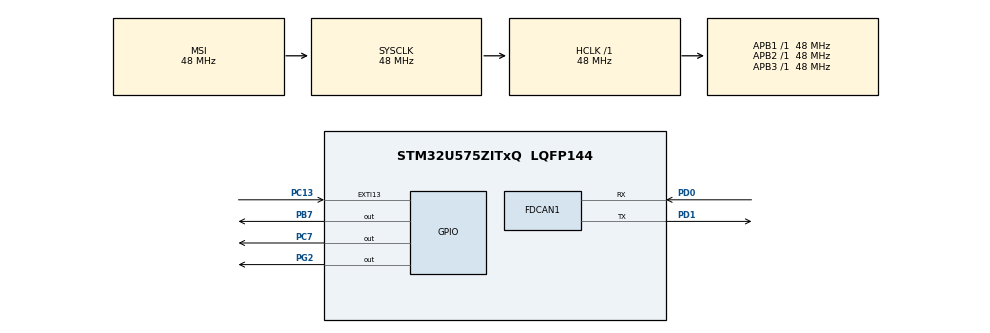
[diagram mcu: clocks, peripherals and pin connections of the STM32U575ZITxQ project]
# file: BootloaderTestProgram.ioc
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CORTEX_M33_NS.userName=CORTEX_M33
FDCAN1.AutoRetransmission=ENABLE
FDCAN1.CalculateBaudRateNominal=500000
FDCAN1.CalculateTimeBitNominal=2000
FDCAN1.CalculateTimeQuantumNominal=100.0
FDCAN1.DataPrescaler=2
FDCAN1.DataSyncJumpWidth=11
FDCAN1.DataTimeSeg1=13
FDCAN1.DataTimeSeg2=11
FDCAN1.ExtFiltersNbr=1
FDCAN1.FrameFormat=FDCAN_FRAME_FD_BRS
FDCAN1.NominalPrescaler=5
FDCAN1.NominalSyncJumpWidth=3
FDCAN1.NominalTimeSeg1=16
FDCAN1.NominalTimeSeg2=3
FDCAN1.StdFiltersNbr=1
Mcu.Family=STM32U5
Mcu.Name=STM32U575ZITxQ
Mcu.Package=LQFP144
NUCLEO-U575ZI-Q.BUTTON=1
NUCLEO-U575ZI-Q.Bsp_Common_DEMO=true
NUCLEO-U575ZI-Q.LD1=true
NUCLEO-U575ZI-Q.LD2=true
NUCLEO-U575ZI-Q.LD3=true
NUCLEO-U575ZI-Q.VCP=true
NVIC.EXTI13_IRQn=true\:0\:0\:false\:false\:true\:false\:true\:true
NVIC.FDCAN1_IT0_IRQn=true\:0\:0\:false\:false\:true\:true\:true\:true
NVIC.PriorityGroup=NVIC_PRIORITYGROUP_3
NVIC.TIM17_IRQn=true\:7\:0\:false\:false\:true\:false\:true\:true
NVIC.TimeBase=TIM17_IRQn
NVIC.TimeBaseIP=TIM17
PA10.Signal=USART1_RX
PA13\ (JTMS/SWDIO).Signal=DEBUG_JTMS-SWDIO
PA14\ (JTCK/SWCLK).Signal=DEBUG_JTCK-SWCLK
PA9.Signal=USART1_TX
PB3\ (JTDO/TRACESWO).Signal=DEBUG_JTDO-SWO
PB7.Signal=GPIO_Output
PC13.Signal=GPXTI13
PC14-OSC32_IN\ (PC14).Signal=RCC_OSC32_IN
PC15-OSC32_OUT\ (PC15).Signal=RCC_OSC32_OUT
PC7.Signal=GPIO_Output
PD0.Mode=FDCAN_Activate
PD0.Signal=FDCAN1_RX
PD1.Mode=FDCAN_Activate
PD1.Signal=FDCAN1_TX
PG2.Signal=GPIO_Output
PWR.PowerMode=PWR_SMPS_SUPPLY
ProjectManager.HeapSize=0x200
ProjectManager.StackSize=0x400
ProjectManager.TargetToolchain=STM32CubeIDE
RCC.ADCFreq_Value=16000000
RCC.AHBFreq_Value=48000000
RCC.APB1Freq_Value=48000000
RCC.APB1TimFreq_Value=48000000
RCC.APB2Freq_Value=48000000
RCC.APB2TimFreq_Value=48000000
RCC.APB3Freq_Value=48000000
RCC.CortexFreq_Value=48000000
RCC.DACCLockSelectionVirtual=RCC_DAC1CLKSOURCE_LSI
RCC.EPOD_VALUE=48000000
RCC.HCLKFreq_Value=48000000
RCC.HSE_VALUE=16000000
RCC.HSI48_VALUE=48000000
RCC.HSI_VALUE=16000000
RCC.LSE_VALUE=32768
RCC.LSIDIV_VALUE=32000
RCC.MSIClockRange=RCC_MSIRANGE_0
RCC.MSI_VALUE=48000000
RCC.PLL1Q=3
RCC.PLL2FRACN=0
RCC.PLL3FRACN=0
RCC.PLLFRACN=3072
RCC.PLLM=3
RCC.PLLN=9
RCC.SYSCLKFreq_VALUE=48000000
RCC.USBFreq_Value=48000000
RCC.VCOOutputFreq_Value=150000000
VP_ICACHE_VS_ENABLE_ICACHE_MEMORY.Mode=Memoryregions
VP_ICACHE_VS_ICACHE.Mode=DirectMappedCache
VP_LPBAMQUEUE_VS_QUEUE.Mode=QUEUEMODE
VP_LPBAM_VS_SIG1.Mode=SmartRun
VP_LPBAM_VS_SIG4.Mode=LPDMA1
VP_MEMORYMAP_VS_MEMORYMAP.Mode=CurAppReg
VP_NUCLEO-U575ZI-Q_VS_BSP_COMMON.Mode=COMMON
VP_PWR_VS_DBSignals.Mode=DisableDeadBatterySignals
VP_PWR_VS_LPOM.Mode=PowerOptimisation
VP_PWR_VS_SECSignals.Mode=Security/Privilege
VP_SYS_VS_tim17.Mode=TIM17
board=NUCLEO-U575ZI-Q

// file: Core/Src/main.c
/* USER CODE BEGIN Header */
/**
  ******************************************************************************
  * @file           : main.c
  * @brief          : Main program body
  ******************************************************************************
  * @attention
  *
  * Copyright (c) 2025 STMicroelectronics.
  * All rights reserved.
  *
  * This software is licensed under terms that can be found in the LICENSE file
  * in the root directory of this software component.
  * If no LICENSE file comes with this software, it is provided AS-IS.
  *
  ******************************************************************************
  */
/* USER CODE END Header */
#include "main.h"

COM_InitTypeDef BspCOMInit;
__IO uint32_t BspButtonState = BUTTON_RELEASED;

FDCAN_HandleTypeDef hfdcan1;

/* USER CODE BEGIN PV */
static int last_tick = 0;
/* USER CODE END PV */

void SystemClock_Config(void);
static void SystemPower_Config(void);
static void MX_GPIO_Init(void);
static void MX_ICACHE_Init(void);
static void MX_FDCAN1_Init(void);

int main(void)
{

  /* USER CODE BEGIN 1 */
  SCB->VTOR = 0x08100000;
  /* USER CODE END 1 */

  /* MCU Configuration--------------------------------------------------------*/

  /* Reset of all peripherals, Initializes the Flash interface and the Systick. */
  HAL_Init();

  /* Configure the System Power */
  SystemPower_Config();

  /* Configure the system clock */
  SystemClock_Config();

  /* Initialize all configured peripherals */
  MX_GPIO_Init();
  MX_ICACHE_Init();
  MX_FDCAN1_Init();
  /* USER CODE BEGIN 2 */
  CAN_Init(&hfdcan1);
  CAN_SetRxBufferSize(64,64);
  /* USER CODE END 2 */

  /* Initialize leds */
  BSP_LED_Init(LED_GREEN);
  BSP_LED_Init(LED_BLUE);
  BSP_LED_Init(LED_RED);

  /* Initialize USER push-button, will be used to trigger an interrupt each time it's pressed.*/
  BSP_PB_Init(BUTTON_USER, BUTTON_MODE_EXTI);

  /* Initialize COM1 port (115200, 8 bits (7-bit data + 1 stop bit), no parity */
  BspCOMInit.BaudRate   = 115200;
  BspCOMInit.WordLength = COM_WORDLENGTH_8B;
  BspCOMInit.StopBits   = COM_STOPBITS_1;
  BspCOMInit.Parity     = COM_PARITY_NONE;
  BspCOMInit.HwFlowCtl  = COM_HWCONTROL_NONE;
  if (BSP_COM_Init(COM1, &BspCOMInit) != BSP_ERROR_NONE)
  {
    Error_Handler();
  }

  /* USER CODE BEGIN BSP */

  /* -- Sample board code to send message over COM1 port ---- */
  printf("Welcome to STM32 world !\n\r");

  /* -- Sample board code to switch on leds ---- */
//  BSP_LED_On(LED_GREEN);
//  BSP_LED_On(LED_BLUE);
//  BSP_LED_On(LED_RED);

//  __enable_irq();
  if (SCB->VTOR == 0x8100000){
	  BSP_LED_On(LED_BLUE);
  }
  else SCB->VTOR = 0x8100000;
  /* USER CODE END BSP */

  /* Infinite loop */
  /* USER CODE BEGIN WHILE */
//  Set_Boot_Flag(false);
  while (1)
  {

    /* -- Sample board code for User push-button in interrupt mode ---- */
    if (BspButtonState == BUTTON_PRESSED)
    {
      /* Update button state */
      BspButtonState = BUTTON_RELEASED;
      /* -- Sample board code to toggle leds ---- */
      BSP_LED_Toggle(LED_BLUE);
//      BSP_LED_Toggle(LED_BLUE);
//      BSP_LED_Toggle(LED_RED);

      /* ..... Perform your action ..... */
    }

    uint32_t current_tick = HAL_GetTick();
    if (current_tick - last_tick >= 2000) {
          last_tick = current_tick;
          BSP_LED_Toggle(LED_GREEN);
        }
    /* USER CODE END WHILE */

  }
}

void SystemClock_Config(void)
{
  RCC_OscInitTypeDef RCC_OscInitStruct = {0};
  RCC_ClkInitTypeDef RCC_ClkInitStruct = {0};

  /** Configure the main internal regulator output voltage
  */
  if (HAL_PWREx_ControlVoltageScaling(PWR_REGULATOR_VOLTAGE_SCALE3) != HAL_OK)
  {
    Error_Handler();
  }

  /** Initializes the CPU, AHB and APB buses clocks
  */
  RCC_OscInitStruct.OscillatorType = RCC_OSCILLATORTYPE_MSI;
  RCC_OscInitStruct.MSIState = RCC_MSI_ON;
  RCC_OscInitStruct.MSICalibrationValue = RCC_MSICALIBRATION_DEFAULT;
  RCC_OscInitStruct.MSIClockRange = RCC_MSIRANGE_0;
  RCC_OscInitStruct.PLL.PLLState = RCC_PLL_ON;
  RCC_OscInitStruct.PLL.PLLSource = RCC_PLLSOURCE_MSI;
  RCC_OscInitStruct.PLL.PLLMBOOST = RCC_PLLMBOOST_DIV4;
  RCC_OscInitStruct.PLL.PLLM = 3;
  RCC_OscInitStruct.PLL.PLLN = 9;
  RCC_OscInitStruct.PLL.PLLP = 2;
  RCC_OscInitStruct.PLL.PLLQ = 3;
  RCC_OscInitStruct.PLL.PLLR = 2;
  RCC_OscInitStruct.PLL.PLLRGE = RCC_PLLVCIRANGE_1;
  RCC_OscInitStruct.PLL.PLLFRACN = 3072;
  if (HAL_RCC_OscConfig(&RCC_OscInitStruct) != HAL_OK)
  {
    Error_Handler();
  }

  /** Initializes the CPU, AHB and APB buses clocks
  */
  RCC_ClkInitStruct.ClockType = RCC_CLOCKTYPE_HCLK|RCC_CLOCKTYPE_SYSCLK
                              |RCC_CLOCKTYPE_PCLK1|RCC_CLOCKTYPE_PCLK2
                              |RCC_CLOCKTYPE_PCLK3;
  RCC_ClkInitStruct.SYSCLKSource = RCC_SYSCLKSOURCE_MSI;
  RCC_ClkInitStruct.AHBCLKDivider = RCC_SYSCLK_DIV1;
  RCC_ClkInitStruct.APB1CLKDivider = RCC_HCLK_DIV1;
  RCC_ClkInitStruct.APB2CLKDivider = RCC_HCLK_DIV1;
  RCC_ClkInitStruct.APB3CLKDivider = RCC_HCLK_DIV1;

  if (HAL_RCC_ClockConfig(&RCC_ClkInitStruct, FLASH_LATENCY_1) != HAL_OK)
  {
    Error_Handler();
  }
}

/**
  * @brief Power Configuration
  * @retval None
  */
static void SystemPower_Config(void)
{

  /*
   * Disable the internal Pull-Up in Dead Battery pins of UCPD peripheral
   */
  HAL_PWREx_DisableUCPDDeadBattery();

  /*
   * Switch to SMPS regulator instead of LDO
   */
  if (HAL_PWREx_ConfigSupply(PWR_SMPS_SUPPLY) != HAL_OK)
  {
    Error_Handler();
  }
}

static void MX_FDCAN1_Init(void)
{

  hfdcan1.Instance = FDCAN1;
  hfdcan1.Init.ClockDivider = FDCAN_CLOCK_DIV1;
  hfdcan1.Init.FrameFormat = FDCAN_FRAME_FD_BRS;
  hfdcan1.Init.Mode = FDCAN_MODE_NORMAL;
  hfdcan1.Init.AutoRetransmission = ENABLE;
  hfdcan1.Init.TransmitPause = DISABLE;
  hfdcan1.Init.ProtocolException = DISABLE;
  hfdcan1.Init.NominalPrescaler = 5;
  hfdcan1.Init.NominalSyncJumpWidth = 3;
  hfdcan1.Init.NominalTimeSeg1 = 16;
  hfdcan1.Init.NominalTimeSeg2 = 3;
  hfdcan1.Init.DataPrescaler = 2;
  hfdcan1.Init.DataSyncJumpWidth = 11;
  hfdcan1.Init.DataTimeSeg1 = 13;
  hfdcan1.Init.DataTimeSeg2 = 11;
  hfdcan1.Init.StdFiltersNbr = 1;
  hfdcan1.Init.ExtFiltersNbr = 1;
  hfdcan1.Init.TxFifoQueueMode = FDCAN_TX_FIFO_OPERATION;
  if (HAL_FDCAN_Init(&hfdcan1) != HAL_OK)
  {
    Error_Handler();
  }

}

static void MX_ICACHE_Init(void)
{

  /** Enable instruction cache in 1-way (direct mapped cache)
  */
  if (HAL_ICACHE_ConfigAssociativityMode(ICACHE_1WAY) != HAL_OK)
  {
    Error_Handler();
  }
  if (HAL_ICACHE_Enable() != HAL_OK)
  {
    Error_Handler();
  }

}

static void MX_GPIO_Init(void)
{

  /* GPIO Ports Clock Enable */
  __HAL_RCC_GPIOC_CLK_ENABLE();
  __HAL_RCC_GPIOA_CLK_ENABLE();
  __HAL_RCC_GPIOD_CLK_ENABLE();
  __HAL_RCC_GPIOB_CLK_ENABLE();

}

void HAL_TIM_PeriodElapsedCallback(TIM_HandleTypeDef *htim)
{
  if (htim->Instance == TIM17) {
    HAL_IncTick();
  }
}

/**
  * @brief BSP Push Button callback
  * @param Button Specifies the pressed button
  * @retval None
  */
void BSP_PB_Callback(Button_TypeDef Button)
{
  if (Button == BUTTON_USER)
  {
    BspButtonState = BUTTON_PRESSED;
  }
}

void Error_Handler(void)
{
  __disable_irq();
  while (1)
  {
  }
}
